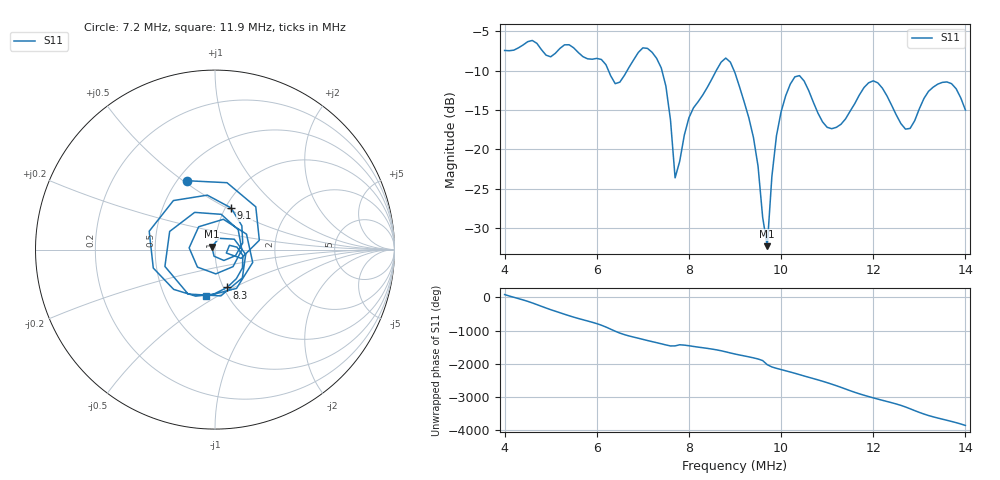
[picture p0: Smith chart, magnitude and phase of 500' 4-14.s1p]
# HZ S RI R 50
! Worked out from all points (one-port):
!   101 points, 4 MHz to 14 MHz, reference 50 ohm
!   lowest |S11| = -32.3 dB at 9.7 MHz (marker M1), VSWR 1.05, Z = 48.2 + j1.58 ohm
!   |S11| at or under -10 dB: 6.255 MHz to 6.658 MHz (402.6 kHz wide, 6.24 % of centre); 7.415 MHz to 8.592 MHz (1.176 MHz wide, 14.7 % of centre); 8.98 MHz to end of sweep
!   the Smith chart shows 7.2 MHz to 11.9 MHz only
!   S11 on the Smith chart (normalised r, x): 7.2 MHz: 0.56, +0.52; 8.3 MHz: 1.04, -0.46; 9.1 MHz: 1.06, +0.53; 11.9 MHz: 0.79, -0.44
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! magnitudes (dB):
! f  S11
! 4 MHz  -7.4
! 4.6 MHz  -6.2
! 5 MHz  -8.2
! 5.3 MHz  -6.7
! 6.5 MHz  -11.5
! 7 MHz  -7.1
! 7.2 MHz  -7.7
! 7.5 MHz  -12.0
! 7.6 MHz  -16.3
! 7.7 MHz  -23.6
! 7.8 MHz  -21.5
! 8 MHz  -16.0
! 8.3 MHz  -13.1
! 8.8 MHz  -8.4
! 9 MHz  -10.3
! 9.1 MHz  -12.1
! 9.4 MHz  -18.5
! 9.7 MHz  -32.3
! 9.8 MHz  -23.5
! 9.9 MHz  -18.3
! 10.3 MHz  -10.8
! 11 MHz  -17.2
! 11.5 MHz  -15.1
! 11.9 MHz  -11.5
! 12.8 MHz  -17.3
! 13.2 MHz  -12.6
! 13.5 MHz  -11.5
! 14 MHz  -15.0
